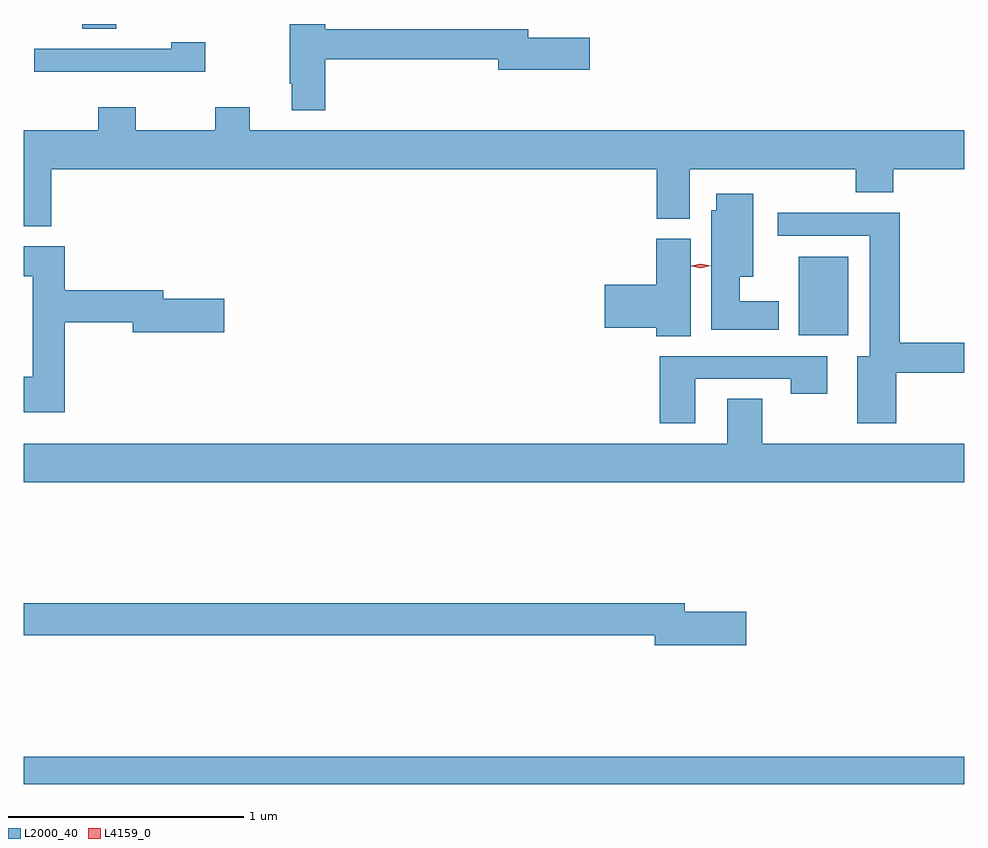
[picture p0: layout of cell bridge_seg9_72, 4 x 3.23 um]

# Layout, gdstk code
import gdstk
lib = gdstk.Library(unit=1e-6, precision=1e-09)
def R(c, l, rs):  # rectangles x0, y0, x1, y1
    for r in rs: c.add(gdstk.rectangle(r[:2], r[2:], *l))
def P(c, l, *ps):  # polygons
    for p in ps: c.add(gdstk.Polygon(p, *l))
L2000_40 = (2000, 40)
L4159_0 = (4159, 0)

bridge_seg9_72 = lib.new_cell('bridge_seg9_72')
R(bridge_seg9_72, L2000_40, [(1023.798,1164.5,1027.798,1164.616), (1027.094,1166.408,1027.306,1166.743), (1024.046,1167.712,1024.192,1167.733)])
P(bridge_seg9_72, L2000_40, [(1025.081,1167.582),(1025.816,1167.582),(1025.816,1167.539),(1026.205,1167.539),(1026.205,1167.674),(1025.944,1167.674),(1025.944,1167.71),(1025.081,1167.71),(1025.081,1167.733),(1024.93,1167.733),(1024.93,1167.478),(1024.937,1167.478),(1024.937,1167.366),(1025.081,1167.366)],
  [(1024.57,1167.655),(1024.425,1167.655),(1024.425,1167.627),(1023.843,1167.627),(1023.843,1167.53),(1024.57,1167.53)],
  [(1023.914,1167.116),(1026.491,1167.116),(1026.491,1166.905),(1026.631,1166.905),(1026.631,1167.116),(1027.336,1167.116),(1027.336,1167.017),(1027.496,1167.017),(1027.496,1167.116),(1027.798,1167.116),(1027.798,1167.28),(1024.759,1167.28),(1024.759,1167.379),(1024.612,1167.379),(1024.612,1167.28),(1024.275,1167.28),(1024.275,1167.379),(1024.115,1167.379),(1024.115,1167.28),(1023.798,1167.28),(1023.798,1166.873),(1023.914,1166.873)],
  [(1027.009,1166.554),(1026.844,1166.554),(1026.844,1166.657),(1026.901,1166.657),(1026.901,1167.01),(1026.743,1167.01),(1026.743,1166.94),(1026.722,1166.94),(1026.722,1166.432),(1027.009,1166.432)],
  [(1027.51,1166.25),(1027.798,1166.25),(1027.798,1166.378),(1027.523,1166.378),(1027.523,1166.93),(1027.005,1166.93),(1027.005,1166.832),(1027.397,1166.832),(1027.397,1166.32),(1027.343,1166.32),(1027.343,1166.034),(1027.51,1166.034)],
  [(1026.634,1166.82),(1026.488,1166.82),(1026.488,1166.624),(1026.27,1166.624),(1026.27,1166.441),(1026.488,1166.441),(1026.488,1166.404),(1026.634,1166.404)],
  [(1023.971,1166.464),(1024.262,1166.464),(1024.262,1166.422),(1024.651,1166.422),(1024.651,1166.564),(1024.39,1166.564),(1024.39,1166.6),(1023.971,1166.6),(1023.971,1166.788),(1023.798,1166.788),(1023.798,1166.66),(1023.836,1166.66),(1023.836,1166.233),(1023.798,1166.233),(1023.798,1166.081),(1023.971,1166.081)],
  [(1026.655,1166.223),(1027.06,1166.223),(1027.06,1166.16),(1027.216,1166.16),(1027.216,1166.319),(1026.503,1166.319),(1026.503,1166.034),(1026.655,1166.034)],
  [(1027.798,1165.948),(1026.939,1165.948),(1026.939,1166.138),(1026.791,1166.138),(1026.791,1165.948),(1023.798,1165.948),(1023.798,1165.784),(1027.798,1165.784)],
  [(1026.871,1165.232),(1026.61,1165.232),(1026.61,1165.268),(1023.798,1165.268),(1023.798,1165.132),(1026.482,1165.132),(1026.482,1165.09),(1026.871,1165.09)])
P(bridge_seg9_72, L4159_0, [(1026.678,1166.694),(1026.637,1166.703),(1026.637,1166.703),(1026.637,1166.704),(1026.678,1166.714),(1026.719,1166.705),(1026.719,1166.705),(1026.719,1166.705)])

lib.write_gds('bridge_seg9_72.gds')
